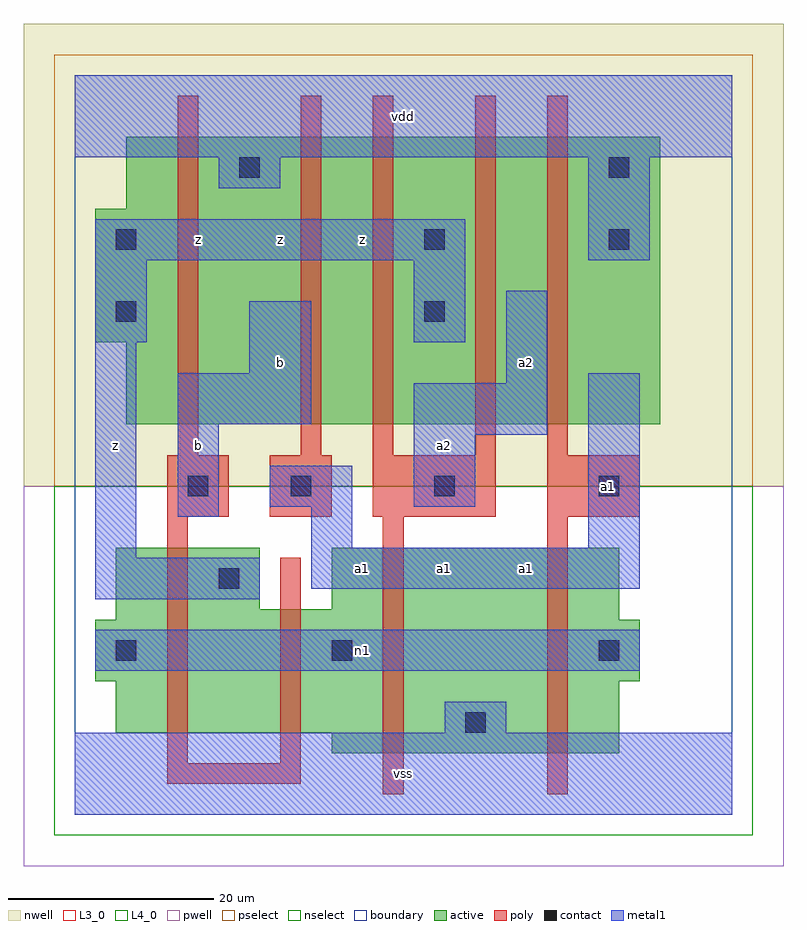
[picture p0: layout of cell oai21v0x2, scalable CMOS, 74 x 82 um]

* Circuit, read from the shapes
.subckt oai21v0x2 a1 a2 b n1 vdd vss z
M1 z b n1 VSUBS nfet w=18u l=2u
M2 n1 b z VSUBS nfet w=12u l=2u
M3 vss a2 n1 VSUBS nfet w=20u l=2u
M4 n1 a1 vss VSUBS nfet w=20u l=2u
M5 vdd b z n2 pfet w=28u l=2u
M6 n3 a1 vdd n2 pfet w=28u l=2u
M7 z a2 n3 n2 pfet w=28u l=2u
M8 n4 a2 z n2 pfet w=28u l=2u
M9 vdd a1 n4 n2 pfet w=28u l=2u
.ends

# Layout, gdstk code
import gdstk
lib = gdstk.Library(unit=1e-6, precision=1e-09)
def R(c, l, rs):  # rectangles x0, y0, x1, y1
    for r in rs: c.add(gdstk.rectangle(r[:2], r[2:], *l))
L3_0 = (3, 0)
L4_0 = (4, 0)
contact = (25, 0)
pwell = (41, 0)
nwell = (42, 0)
active = (43, 0)
pselect = (44, 0)
nselect = (45, 0)
poly = (46, 0)
metal1 = (49, 0)
boundary = (63, 0)

oai21v0x2 = lib.new_cell('oai21v0x2')
R(oai21v0x2, L3_0, [(25,6,53,8), (4,8,53,13), (2,13,55,19), (4,19,53,20), (4,20,18,26), (25,20,53,26)])
R(oai21v0x2, L4_0, [(5,38,57,46), (2,46,57,59), (5,59,57,66)])
R(oai21v0x2, contact, [(38,8,40,10), (4,15,6,17), (25,15,27,17), (51,15,53,17), (14,22,16,24), (11,31,13,33), (21,31,23,33), (35,31,37,33), (51,31,53,33), (4,48,6,50), (34,48,36,50), (4,55,6,57), (34,55,36,57), (52,55,54,57), (16,62,18,64), (52,62,54,64)])
R(oai21v0x2, pwell, [(-5,-5,69,32)])
R(oai21v0x2, nwell, [(-5,32,69,77)])
R(oai21v0x2, active, [(25,6,53,8), (4,8,53,13), (2,13,55,19), (4,19,53,20), (4,20,18,26), (25,20,53,26), (5,38,57,46), (2,46,57,59), (5,59,57,66)])
R(oai21v0x2, pselect, [(-2,32,66,74)])
R(oai21v0x2, nselect, [(-2,-2,66,32)])
R(oai21v0x2, poly, [(30,2,32,29), (46,2,48,29), (9,3,22,5), (9,5,11,29), (20,5,22,25), (9,29,15,35), (19,29,25,35), (29,29,41,35), (46,29,55,35), (10,35,12,70), (22,35,24,70), (29,35,31,70), (39,35,41,70), (46,35,48,70)])
R(oai21v0x2, metal1, [(0,0,64,8), (36,8,42,11), (2,14,55,18), (2,21,18,25), (23,22,55,26), (2,25,6,46), (23,26,27,30), (50,26,55,43), (10,29,14,38), (19,30,27,34), (33,30,39,37), (33,37,46,42), (10,38,23,43), (42,42,46,51), (17,43,23,50), (2,46,7,54), (33,46,38,54), (2,54,38,58), (50,54,56,64), (14,61,20,64), (0,64,64,72)])
R(oai21v0x2, boundary, [(0,0,64,72)])
oai21v0x2.add(gdstk.Label('n1', (28,16), layer=49, texttype=0))
oai21v0x2.add(gdstk.Label('z', (4,36), layer=49, texttype=0))
oai21v0x2.add(gdstk.Label('b', (12,36), layer=49, texttype=0))
oai21v0x2.add(gdstk.Label('z', (12,56), layer=49, texttype=0))
oai21v0x2.add(gdstk.Label('a1', (28,24), layer=49, texttype=0))
oai21v0x2.add(gdstk.Label('b', (20,44), layer=49, texttype=0))
oai21v0x2.add(gdstk.Label('z', (20,56), layer=49, texttype=0))
oai21v0x2.add(gdstk.Label('z', (28,56), layer=49, texttype=0))
oai21v0x2.add(gdstk.Label('vss', (32,4), layer=49, texttype=0))
oai21v0x2.add(gdstk.Label('a1', (36,24), layer=49, texttype=0))
oai21v0x2.add(gdstk.Label('a1', (44,24), layer=49, texttype=0))
oai21v0x2.add(gdstk.Label('a2', (36,36), layer=49, texttype=0))
oai21v0x2.add(gdstk.Label('a2', (44,44), layer=49, texttype=0))
oai21v0x2.add(gdstk.Label('vdd', (32,68), layer=49, texttype=0))
oai21v0x2.add(gdstk.Label('a1', (52,32), layer=49, texttype=0))

lib.write_gds('oai21v0x2.gds')
